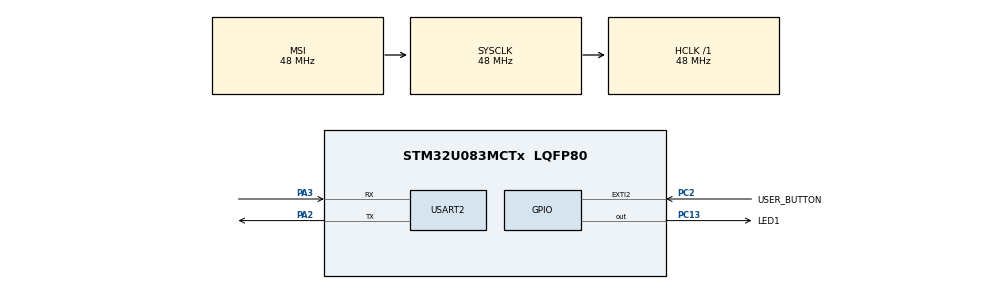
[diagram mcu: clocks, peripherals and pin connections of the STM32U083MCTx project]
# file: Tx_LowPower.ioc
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Mcu.Family=STM32U0
Mcu.Name=STM32U083MCTx
Mcu.Package=LQFP80
NVIC.EXTI2_3_IRQn=true\:0\:0\:false\:false\:true\:false\:true\:true\:true
NVIC.PriorityGroup=NVIC_PRIORITYGROUP_2
NVIC.TIM16_IRQn=true\:3\:0\:false\:false\:true\:false\:false\:true\:true
NVIC.TimeBase=TIM16_IRQn
NVIC.TimeBaseIP=TIM16
PA2.Mode=Asynchronous
PA2.Signal=USART2_TX
PA3.Mode=Asynchronous
PA3.Signal=USART2_RX
PC13.GPIO_Label=LED1
PC13.GPIO_Speed=GPIO_SPEED_FREQ_LOW
PC13.Signal=GPIO_Output
PC2.GPIO_Label=USER_BUTTON
PC2.GPIO_ModeDefaultEXTI=GPIO_MODE_IT_FALLING
PC2.GPIO_PuPd=GPIO_PULLUP
PC2.Signal=GPXTI2
ProjectManager.HeapSize=0x200
ProjectManager.StackSize=0x400
ProjectManager.TargetToolchain=EWARM V9.20
RCC.ADCFreq_Value=48000000
RCC.AHBFreq_Value=48000000
RCC.CortexFreq_Value=48000000
RCC.HCLKFreq_Value=48000000
RCC.HSE_VALUE=4000000
RCC.HSI48_VALUE=48000000
RCC.HSI_VALUE=16000000
RCC.LSE_VALUE=32768
RCC.MSIClockRangeVal=RCC_MSIRANGE_11
RCC.MSI_VALUE=48000000
RCC.SYSCLKFreq_VALUE=48000000
RCC.SYSCLKSource=RCC_SYSCLKSOURCE_MSI
RCC.USART2CLockSelection=RCC_USART2CLKSOURCE_HSI
RCC.USBFreq_Value=48000000
RCC.VCOOutputFreq_Value=64000000
THREADX.TX_APP_CREATION=1
THREADX.TX_APP_GENERATE_INIT_CODE=true
THREADX.TX_APP_MEM_POOL_SIZE=2 * 1024
THREADX.TX_APP_SEM_CREATION=1
THREADX.TX_APP_THREAD_ENTRY=MainThread_Entry
THREADX.TX_APP_THREAD_NAME=Main Thread
THREADX.TX_DISABLE_ERROR_CHECKING=1
THREADX.TX_DISABLE_REDUNDANT_CLEARING=1
THREADX.TX_DISABLE_STACK_FILLING=1
THREADX.TX_LOW_POWER=1
THREADX.TX_LOW_POWER_TIMER_SETUP=\ 
THREADX.TX_LOW_POWER_USER_TIMER_ADJUST=\ 
THREADX.TX_NOT_INTERRUPTABLE=1
THREADX.TX_TIMER_PROCESS_IN_ISR=1
USART2.VirtualMode-Asynchronous=VM_ASYNC
VP_SYS_VS_tim16.Mode=TIM16
VP_THREADX_VS_RTOSJjThreadXJjCoreJjDefault.Mode=Core_Default
VP_THREADX_VS_RTOSJjThreadXJjLow_Power_Support.Mode=Low_Power_Support
board=custom

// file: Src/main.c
/* USER CODE BEGIN Header */
/**
  ******************************************************************************
  * @file    ThreadX/Tx_LowPower/Src/main.c
  * @author  MCD Application Team
  * @brief   Main program body
  ******************************************************************************
  * @attention
  *
  * Copyright (c) 2023 STMicroelectronics.
  * All rights reserved.
  *
  * This software is licensed under terms that can be found in the LICENSE file
  * in the root directory of this software component.
  * If no LICENSE file comes with this software, it is provided AS-IS.
  *
  ******************************************************************************
  */
/* USER CODE END Header */
#include "app_threadx.h"
#include "main.h"

/* USER CODE BEGIN Includes */
#include <stdio.h>
#if defined(__ICCARM__)
#include <LowLevelIOInterface.h>
#endif /* __ICCARM__ */
/* USER CODE END Includes */

/* USER CODE BEGIN PM */
#if defined(__ICCARM__)
/* New definition from EWARM V9, compatible with EWARM8 */
int iar_fputc(int ch);
#define PUTCHAR_PROTOTYPE int iar_fputc(int ch)
#elif defined ( __CC_ARM ) || defined(__ARMCC_VERSION)
/* ARM Compiler 5/6*/
#define PUTCHAR_PROTOTYPE int fputc(int ch, FILE *f)
#elif defined(__GNUC__)
#define PUTCHAR_PROTOTYPE int __io_putchar(int ch)
#endif /* __ICCARM__ */
/* USER CODE END PM */

UART_HandleTypeDef huart2;

void SystemClock_Config(void);
static void MX_GPIO_Init(void);
static void MX_USART2_UART_Init(void);

int main(void)
{

  /* MCU Configuration--------------------------------------------------------*/

  /* Reset of all peripherals, Initializes the Flash interface and the Systick. */
  HAL_Init();

  /* Configure the system clock */
  SystemClock_Config();

  /* USER CODE BEGIN SysInit */

  /* Enable the Debug Module RCC peripheral clock */
  __HAL_RCC_DBGMCU_CLK_ENABLE();

  /* Disable the Debug Module during STOP mode */
  HAL_DBGMCU_DisableDBGStopMode();
  /* USER CODE END SysInit */

  /* Initialize all configured peripherals */
  MX_GPIO_Init();
  MX_USART2_UART_Init();

  MX_ThreadX_Init();

  /* We should never get here as control is now taken by the scheduler */

  /* Infinite loop */
  while (1)
  {

  }
}

void SystemClock_Config(void)
{
  RCC_OscInitTypeDef RCC_OscInitStruct = {0};
  RCC_ClkInitTypeDef RCC_ClkInitStruct = {0};

  /** Configure the main internal regulator output voltage
  */
  HAL_PWREx_ControlVoltageScaling(PWR_REGULATOR_VOLTAGE_SCALE1);

  /** Initializes the RCC Oscillators according to the specified parameters
  * in the RCC_OscInitTypeDef structure.
  */
  RCC_OscInitStruct.OscillatorType = RCC_OSCILLATORTYPE_HSI|RCC_OSCILLATORTYPE_MSI;
  RCC_OscInitStruct.HSIState = RCC_HSI_ON;
  RCC_OscInitStruct.HSICalibrationValue = RCC_HSICALIBRATION_DEFAULT;
  RCC_OscInitStruct.MSIState = RCC_MSI_ON;
  RCC_OscInitStruct.MSICalibrationValue = RCC_MSICALIBRATION_DEFAULT;
  RCC_OscInitStruct.MSIClockRange = RCC_MSIRANGE_11;
  RCC_OscInitStruct.PLL.PLLState = RCC_PLL_NONE;
  if (HAL_RCC_OscConfig(&RCC_OscInitStruct) != HAL_OK)
  {
    Error_Handler();
  }

  /** Initializes the CPU, AHB and APB buses clocks
  */
  RCC_ClkInitStruct.ClockType = RCC_CLOCKTYPE_HCLK|RCC_CLOCKTYPE_SYSCLK
                              |RCC_CLOCKTYPE_PCLK1;
  RCC_ClkInitStruct.SYSCLKSource = RCC_SYSCLKSOURCE_MSI;
  RCC_ClkInitStruct.AHBCLKDivider = RCC_SYSCLK_DIV1;
  RCC_ClkInitStruct.APB1CLKDivider = RCC_HCLK_DIV1;

  if (HAL_RCC_ClockConfig(&RCC_ClkInitStruct, FLASH_LATENCY_1) != HAL_OK)
  {
    Error_Handler();
  }
}

static void MX_USART2_UART_Init(void)
{

  huart2.Instance = USART2;
  huart2.Init.BaudRate = 115200;
  huart2.Init.WordLength = UART_WORDLENGTH_8B;
  huart2.Init.StopBits = UART_STOPBITS_1;
  huart2.Init.Parity = UART_PARITY_NONE;
  huart2.Init.Mode = UART_MODE_TX_RX;
  huart2.Init.HwFlowCtl = UART_HWCONTROL_NONE;
  huart2.Init.OverSampling = UART_OVERSAMPLING_16;
  huart2.Init.OneBitSampling = UART_ONE_BIT_SAMPLE_DISABLE;
  huart2.Init.ClockPrescaler = UART_PRESCALER_DIV1;
  huart2.AdvancedInit.AdvFeatureInit = UART_ADVFEATURE_NO_INIT;
  if (HAL_UART_Init(&huart2) != HAL_OK)
  {
    Error_Handler();
  }
  if (HAL_UARTEx_SetTxFifoThreshold(&huart2, UART_TXFIFO_THRESHOLD_1_8) != HAL_OK)
  {
    Error_Handler();
  }
  if (HAL_UARTEx_SetRxFifoThreshold(&huart2, UART_RXFIFO_THRESHOLD_1_8) != HAL_OK)
  {
    Error_Handler();
  }
  if (HAL_UARTEx_DisableFifoMode(&huart2) != HAL_OK)
  {
    Error_Handler();
  }

}

static void MX_GPIO_Init(void)
{
  GPIO_InitTypeDef GPIO_InitStruct = {0};

  /* GPIO Ports Clock Enable */
  __HAL_RCC_GPIOC_CLK_ENABLE();
  __HAL_RCC_GPIOA_CLK_ENABLE();

  /*Configure GPIO pin Output Level */
  HAL_GPIO_WritePin(LED1_GPIO_Port, LED1_Pin, GPIO_PIN_RESET);

  /*Configure GPIO pin : LED1_Pin */
  GPIO_InitStruct.Pin = LED1_Pin;
  GPIO_InitStruct.Mode = GPIO_MODE_OUTPUT_PP;
  GPIO_InitStruct.Pull = GPIO_NOPULL;
  GPIO_InitStruct.Speed = GPIO_SPEED_FREQ_LOW;
  HAL_GPIO_Init(LED1_GPIO_Port, &GPIO_InitStruct);

  /*Configure GPIO pin : USER_BUTTON_Pin */
  GPIO_InitStruct.Pin = USER_BUTTON_Pin;
  GPIO_InitStruct.Mode = GPIO_MODE_IT_FALLING;
  GPIO_InitStruct.Pull = GPIO_PULLUP;
  HAL_GPIO_Init(USER_BUTTON_GPIO_Port, &GPIO_InitStruct);

  /* EXTI interrupt init*/
  HAL_NVIC_SetPriority(EXTI2_3_IRQn, 0, 0);
  HAL_NVIC_EnableIRQ(EXTI2_3_IRQn);

}

/* USER CODE BEGIN 4 */

#if defined(__ICCARM__)
size_t __write(int file, unsigned char const *ptr, size_t len)
{
  size_t idx;
  unsigned char const *pdata = ptr;

  for (idx = 0; idx < len; idx++)
  {
    iar_fputc((int)*pdata);
    pdata++;
  }
  return len;
}
#endif /* __ICCARM__ */

/**
  * @brief  Retargets the C library printf function to the USART.
  * @param  None
  * @retval None
  */
PUTCHAR_PROTOTYPE
{
  /* Place your implementation of fputc here */
  /* e.g. write a character to the USART2 and Loop until the end of transmission */
  HAL_UART_Transmit(&huart2, (uint8_t *)&ch, 1, 0xFFFF);

  return ch;
}
/* USER CODE END 4 */

void HAL_TIM_PeriodElapsedCallback(TIM_HandleTypeDef *htim)
{
  if (htim->Instance == TIM16)
  {
    HAL_IncTick();
  }
}

void Error_Handler(void)
{
  /* USER CODE BEGIN Error_Handler_Debug */
  /* User can add his own implementation to report the HAL error return state */

  /* Turn OFF GREEN LED */
  HAL_GPIO_WritePin(LED1_GPIO_Port, LED1_Pin, GPIO_PIN_RESET);

  /* Error message */
  printf("** Error occurred **\n\r");

  while (1)
  {
  }
  /* USER CODE END Error_Handler_Debug */
}
